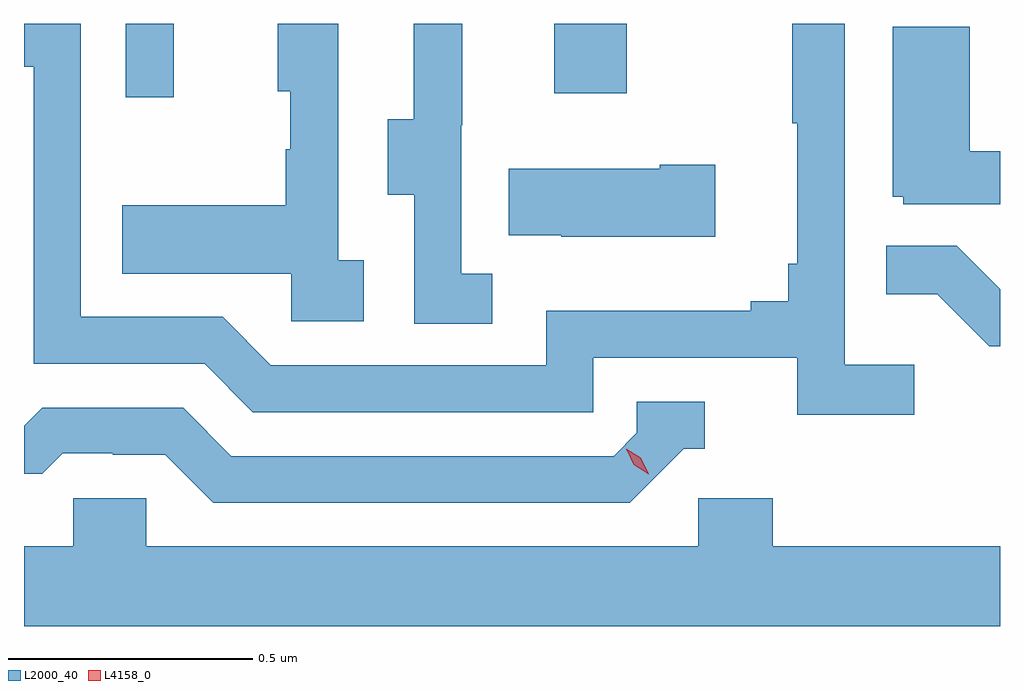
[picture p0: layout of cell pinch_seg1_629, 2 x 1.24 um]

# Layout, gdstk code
import gdstk
lib = gdstk.Library(unit=1e-6, precision=1e-09)
def R(c, l, rs):  # rectangles x0, y0, x1, y1
    for r in rs: c.add(gdstk.rectangle(r[:2], r[2:], *l))
def P(c, l, *ps):  # polygons
    for p in ps: c.add(gdstk.Polygon(p, *l))
L2000_40 = (2000, 40)
L4158_0 = (4158, 0)

pinch_seg1_629 = lib.new_cell('pinch_seg1_629')
R(pinch_seg1_629, L2000_40, [(1137.465,523.512,1137.563,523.663), (1138.343,523.52,1138.491,523.663)])
P(pinch_seg1_629, L2000_40, [(1138.216,523.151),(1138.152,523.151),(1138.152,523.455),(1138.154,523.455),(1138.154,523.663),(1138.055,523.663),(1138.055,523.467),(1138.001,523.467),(1138.001,523.312),(1138.056,523.312),(1138.056,523.048),(1138.216,523.048)],
  [(1137.952,523.178),(1137.9,523.178),(1137.9,523.663),(1137.776,523.663),(1137.776,523.524),(1137.802,523.524),(1137.802,523.406),(1137.792,523.406),(1137.792,523.291),(1137.457,523.291),(1137.457,523.151),(1137.804,523.151),(1137.804,523.053),(1137.952,523.053)],
  [(1139.08,522.964),(1138.938,522.964),(1138.938,523.663),(1138.83,523.663),(1138.83,523.459),(1138.841,523.459),(1138.841,523.171),(1138.822,523.171),(1138.822,523.094),(1138.745,523.094),(1138.745,523.075),(1138.326,523.075),(1138.326,522.963),(1137.762,522.963),(1137.663,523.062),(1137.372,523.062),(1137.372,523.663),(1137.256,523.663),(1137.256,523.575),(1137.276,523.575),(1137.276,522.966),(1137.626,522.966),(1137.725,522.867),(1138.422,522.867),(1138.422,522.978),(1138.841,522.978),(1138.841,522.862),(1139.08,522.862)],
  [(1139.256,523.402),(1139.194,523.402),(1139.194,523.657),(1139.036,523.657),(1139.036,523.308),(1139.058,523.308),(1139.058,523.293),(1139.256,523.293)],
  [(1138.672,523.374),(1138.559,523.374),(1138.559,523.366),(1138.249,523.366),(1138.249,523.229),(1138.357,523.229),(1138.357,523.226),(1138.672,523.226)],
  [(1139.256,523.119),(1139.167,523.208),(1139.023,523.208),(1139.023,523.109),(1139.127,523.109),(1139.234,523.002),(1139.256,523.002)],
  [(1138.608,522.792),(1138.651,522.792),(1138.651,522.888),(1138.512,522.888),(1138.512,522.825),(1138.464,522.777),(1137.681,522.777),(1137.582,522.876),(1137.293,522.876),(1137.256,522.839),(1137.256,522.741),(1137.293,522.741),(1137.335,522.783),(1137.438,522.783),(1137.438,522.78),(1137.545,522.78),(1137.644,522.681),(1138.497,522.681)],
  [(1139.256,522.592),(1138.79,522.592),(1138.79,522.69),(1138.638,522.69),(1138.638,522.592),(1137.507,522.592),(1137.507,522.69),(1137.357,522.69),(1137.357,522.592),(1137.256,522.592),(1137.256,522.428),(1139.256,522.428)])
P(pinch_seg1_629, L4158_0, [(1138.536,522.74),(1138.505,522.759),(1138.49,522.792),(1138.49,522.792),(1138.49,522.792),(1138.52,522.773),(1138.536,522.74),(1138.536,522.74)])

lib.write_gds('pinch_seg1_629.gds')
